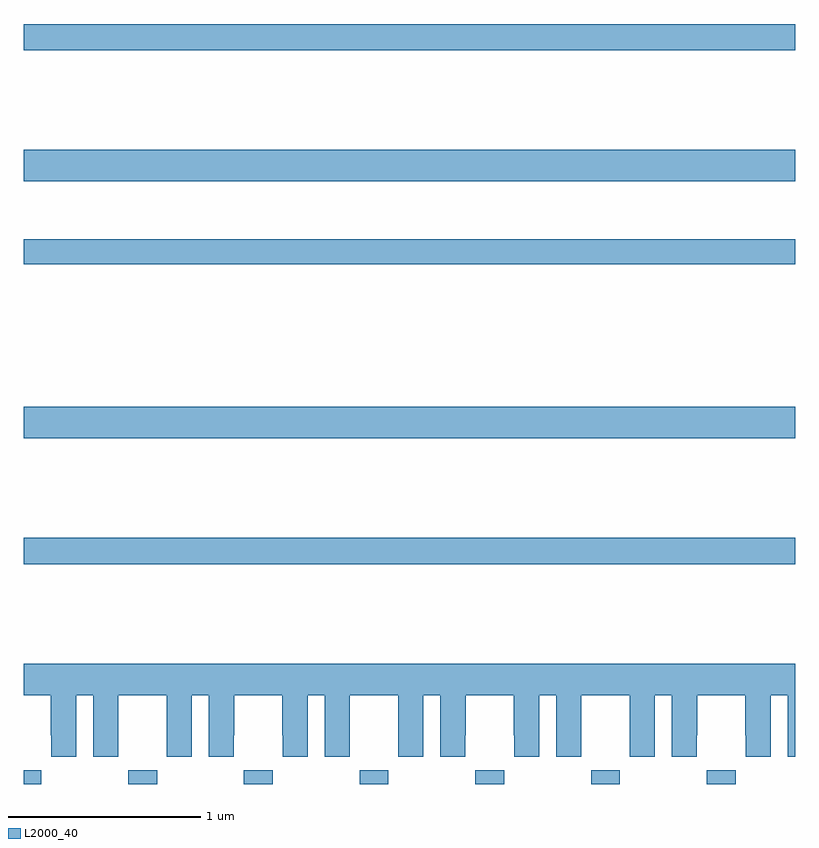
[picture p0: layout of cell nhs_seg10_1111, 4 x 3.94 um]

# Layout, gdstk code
import gdstk
lib = gdstk.Library(unit=1e-6, precision=1e-09)
def R(c, l, rs):  # rectangles x0, y0, x1, y1
    for r in rs: c.add(gdstk.rectangle(r[:2], r[2:], *l))
def A(c, l, x, y, w, h, nx, ny, dx, dy):  # array of equal rectangles
    R(c, l, [(x+i*dx, y+j*dy, x+i*dx+w, y+j*dy+h) for i in range(nx) for j in range(ny)])
def P(c, l, *ps):  # polygons
    for p in ps: c.add(gdstk.Polygon(p, *l))
L2000_40 = (2000, 40)

nhs_seg10_1111 = lib.new_cell('nhs_seg10_1111')
A(nhs_seg10_1111, L2000_40, 167.541, 1322.5, 0.15, 0.072, 6, 1, 0.6, 0)
R(nhs_seg10_1111, L2000_40, [(167,1322.5,167.091,1322.572), (167,1323.64,171,1323.776), (167,1324.292,171,1324.456), (167,1325.194,171,1325.323), (167,1325.624,171,1325.788), (167,1326.304,171,1326.44)])
P(nhs_seg10_1111, L2000_40, [(167,1322.96),(167.141,1322.96),(167.141,1322.752),(167.142,1322.752),(167.142,1322.64),(167.272,1322.64),(167.272,1322.96),(167.36,1322.96),(167.36,1322.64),(167.49,1322.64),(167.49,1322.752),(167.491,1322.752),(167.491,1322.96),(167.741,1322.96),(167.741,1322.752),(167.742,1322.752),(167.742,1322.64),(167.872,1322.64),(167.872,1322.96),(167.96,1322.96),(167.96,1322.64),(168.09,1322.64),(168.09,1322.752),(168.091,1322.752),(168.091,1322.96),(168.341,1322.96),(168.341,1322.752),(168.342,1322.752),(168.342,1322.64),(168.472,1322.64),(168.472,1322.96),(168.56,1322.96),(168.56,1322.64),(168.69,1322.64),(168.69,1322.752),(168.691,1322.752),(168.691,1322.96),(168.941,1322.96),(168.941,1322.752),(168.942,1322.752),(168.942,1322.64),(169.072,1322.64),(169.072,1322.96),(169.16,1322.96),(169.16,1322.64),(169.29,1322.64),(169.29,1322.752),(169.291,1322.752),(169.291,1322.96),(169.541,1322.96),(169.541,1322.752),(169.542,1322.752),(169.542,1322.64),(169.672,1322.64),(169.672,1322.96),(169.76,1322.96),(169.76,1322.64),(169.89,1322.64),(169.89,1322.752),(169.891,1322.752),(169.891,1322.96),(170.141,1322.96),(170.141,1322.752),(170.142,1322.752),(170.142,1322.64),(170.272,1322.64),(170.272,1322.96),(170.36,1322.96),(170.36,1322.64),(170.49,1322.64),(170.49,1322.752),(170.491,1322.752),(170.491,1322.96),(170.741,1322.96),(170.741,1322.752),(170.742,1322.752),(170.742,1322.64),(170.872,1322.64),(170.872,1322.96),(170.96,1322.96),(170.96,1322.64),(171,1322.64),(171,1323.124),(167,1323.124)])

lib.write_gds('nhs_seg10_1111.gds')
